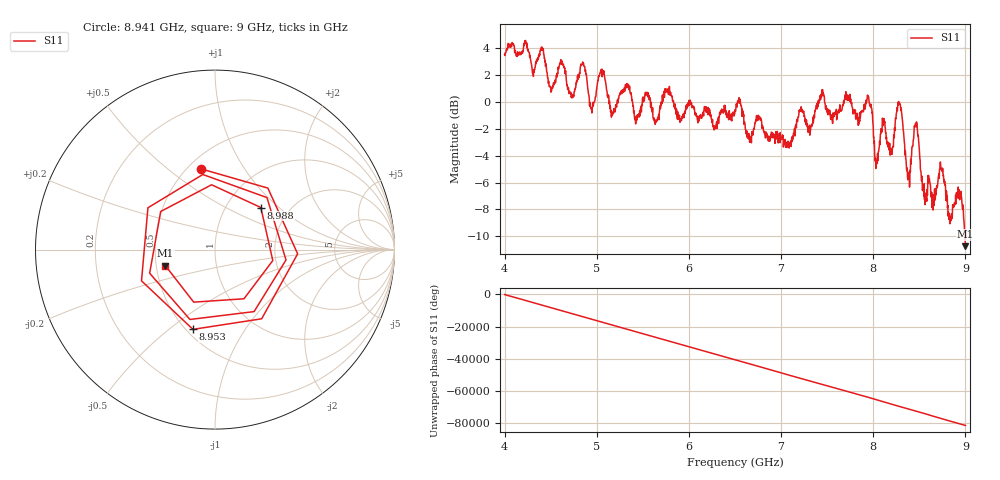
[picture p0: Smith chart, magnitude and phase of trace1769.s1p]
! Created with skrf 1.8.0 (http://scikit-rf.org).
# Hz S RI R 50.0
!freq ReS11 ImS11
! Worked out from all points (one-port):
!   1601 points, 4 GHz to 9 GHz, reference 50 ohm
!   lowest |S11| = -10.7 dB at 9 GHz (marker M1), VSWR 1.82, Z = 28 - j5.51 ohm
!   |S11| at or under -10 dB: 8.996475 GHz to end of sweep
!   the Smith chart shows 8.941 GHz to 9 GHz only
!   S11 on the Smith chart (normalised r, x): 8.941 GHz: 0.58, +0.66; 8.953 GHz: 0.54, -0.61; 8.988 GHz: 1.44, +0.77; 9 GHz: 0.56, -0.11
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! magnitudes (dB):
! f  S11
! 4 GHz  3.5
! 4.403 GHz  3.9
! 4.506 GHz  1.0
! 4.625 GHz  2.9
! 4.728 GHz  0.5
! 4.853 GHz  2.8
! 4.947 GHz  -0.8
! 5.053 GHz  2.4
! 5.162 GHz  -0.8
! 5.25 GHz  0.6
! 5.875 GHz  -1.3
! 6.5 GHz  -0.6
! 7.125 GHz  -2.5
! 7.75 GHz  0.0
! 7.959 GHz  0.0
! 8.041 GHz  -4.5
! 8.106 GHz  -1.8
! 8.194 GHz  -3.5
! 8.284 GHz  -0.1
! 8.375 GHz  -5.8
! 8.466 GHz  -1.8
! 8.559 GHz  -6.9
! 8.738 GHz  -5.0
! 8.831 GHz  -9.1
! 8.941 GHz  -6.8
! 8.953 GHz  -6.7
! 8.988 GHz  -9.2
! 9 GHz  -10.7
